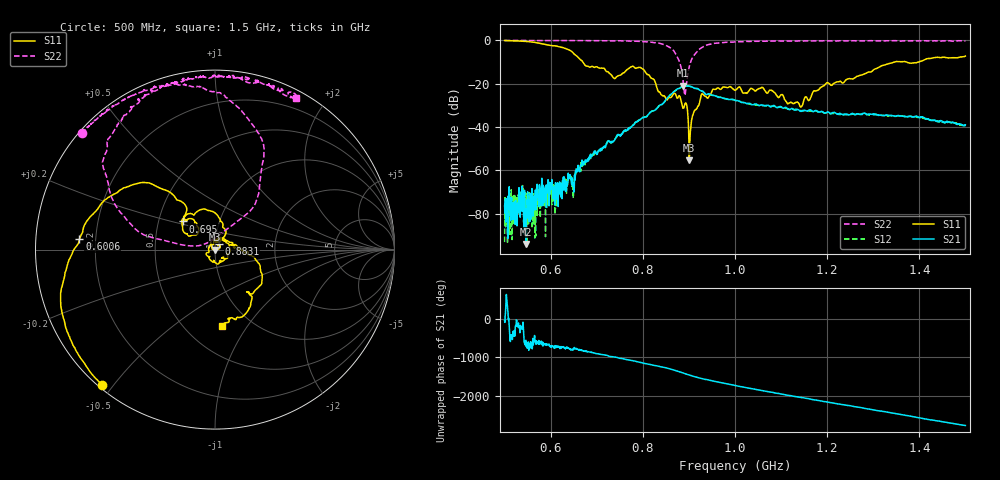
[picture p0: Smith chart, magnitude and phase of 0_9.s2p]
!Agilent Technologies,E8364B,US42250235,A.06.04.32
!Agilent E8364B: A.06.04.32
!Date: Friday, January 15, 2021 14:53:02
!Correction: S11(Full 2 Port(1,2)) S21(Full 2 Port(1,2)) S12(Full 2 Port(1,2)) S22(Full 2 Port(1,2))
!S2P File: Measurements: S11, S21, S12, S22:
# Hz S  dB  R 50
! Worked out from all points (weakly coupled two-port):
!   1601 points, 500 MHz to 1.5 GHz, reference 50 ohm
!   highest |S21| = -21.01 dB at 887.5 MHz (marker M1); lowest = -93.9 dB at 546.9 MHz (marker M2)
!   lowest |S11| = -55.4 dB at 900.6 MHz (marker M3), VSWR 1.00, Z = 50.1 - j0.127 ohm
!   |S11| at or under -10 dB: 669.7 MHz to 1.347 GHz (677.5 MHz wide, 67.2 % of centre); 1.372 GHz to 1.399 GHz (27 MHz wide, 1.95 % of centre)
!   |S22| runs from -25.4 to -0.1 dB; largest |S21 - S12| = 0.0025
!   S11 on the Smith chart (normalised r, x): 500 MHz: 0.01, -0.47; 600.6 MHz: 0.14, +0.04; 695 MHz: 0.67, +0.22; 883.1 MHz: 1.04, +0.07; 1.5 GHz: 0.74, -0.77
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5e8  -0.15 -130.0  -76.22 -36.6  -93.04 81.0  -0.13 138.6
5.34375e8  -0.42 -146.3  -72.01 -159.5  -70.09 134.3  -0.14 135.3
5.46875e8  -0.58 -153.1  -93.94 4.8  -77.50 -95.0  -0.14 134.6
6.00625e8  -2.41 175.5  -68.76 16.7  -68.61 3.1  -0.18 129.4
6.09375e8  -2.60 170.0  -68.81 30.2  -80.29 40.5  -0.17 127.4
6.475e8  -5.57 135.0  -67.34 -70.1  -64.38 -66.6  -0.15 124.8
6.66875e8  -9.30 126.8  -56.66 -88.9  -56.32 -84.3  -0.19 121.6
6.95e8  -12.52 138.5  -51.05 -166.8  -51.92 -163.4  -0.20 118.2
7.3875e8  -17.70 136.8  -45.95 93.3  -46.25 94.8  -0.33 112.3
7.95625e8  -12.71 103.6  -36.32 -51.9  -36.38 -50.6  -0.59 101.2
8.3375e8  -23.74 61.0  -30.57 -147.5  -30.51 -146.4  -1.30 86.5
8.65625e8  -25.04 84.2  -24.06 116.8  -24.08 118.4  -4.51 62.8
8.83125e8  -28.07 55.6  -21.60 51.6  -21.60 52.4  -12.76 49.8
8.875e8  -31.34 52.5  -21.01 31.9  -21.03 32.7  -18.89 63.7
8.93125e8  -28.89 38.8  -21.16 9.2  -21.18 10.5  -23.02 156.2
9.00625e8  -55.40 -48.3  -21.18 -19.2  -21.15 -19.0  -12.37 170.6
9.29375e8  -24.72 101.5  -23.45 -116.1  -23.62 -115.9  -3.19 149.0
1e9  -23.13 -19.7  -27.73 66.4  -27.67 67.6  -0.78 120.6
1.1425e9  -30.83 113.4  -32.67 112.6  -32.39 113.6  -0.29 100.6
1.166875e9  -24.96 69.9  -32.62 60.5  -32.82 64.1  -0.36 97.3
1.33375e9  -10.79 -26.5  -34.60 81.5  -34.84 79.8  -0.31 79.3
1.5e9  -7.34 -84.8  -39.03 99.9  -39.45 94.8  -0.36 62.0
